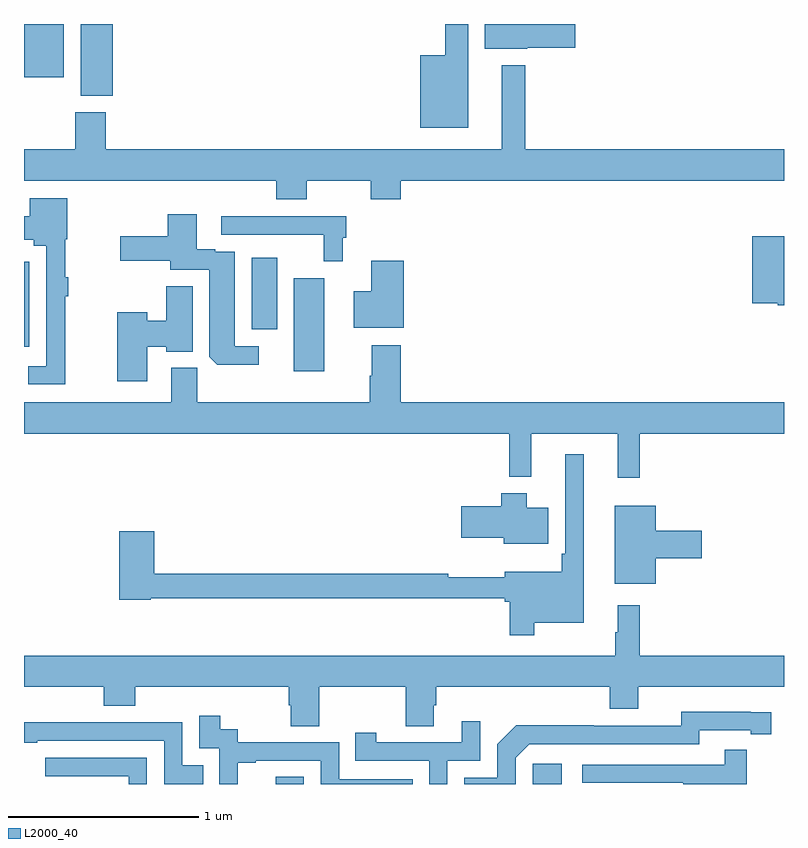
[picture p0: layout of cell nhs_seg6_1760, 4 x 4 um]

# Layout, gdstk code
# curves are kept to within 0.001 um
import gdstk
lib = gdstk.Library(unit=1e-6, precision=1e-09)
def R(c, l, rs):  # rectangles x0, y0, x1, y1
    for r in rs: c.add(gdstk.rectangle(r[:2], r[2:], *l))
def P(c, l, *ps):  # polygons
    for p in ps: c.add(gdstk.Polygon(p, *l))
L2000_40 = (2000, 40)

nhs_seg6_1760 = lib.new_cell('nhs_seg6_1760')
R(nhs_seg6_1760, L2000_40, [(218.325,937.5,218.472,937.537), (219.678,937.5,219.829,937.606), (218.42,939.672,218.581,940.162), (217,939.801,217.027,940.249), (218.198,939.894,218.332,940.27), (217,941.219,217.21,941.5)])
P(nhs_seg6_1760, L2000_40, [(219.648,941.375),(219.901,941.375),(219.901,941.5),(219.425,941.5),(219.425,941.369),(219.648,941.369)],
  [(219.337,941.5),(219.216,941.5),(219.216,941.335),(219.086,941.335),(219.086,940.955),(219.337,940.955)],
  [(217.466,941.499),(217.445,941.499),(217.445,941.5),(217.298,941.5),(217.298,941.123),(217.466,941.123)],
  [(218.487,940.676),(218.824,940.676),(218.824,940.577),(218.984,940.577),(218.984,940.676),(221,940.676),(221,940.84),(219.637,940.84),(219.637,941.284),(219.515,941.284),(219.515,940.84),(217.43,940.84),(217.43,941.035),(217.27,941.035),(217.27,940.84),(217,940.84),(217,940.676),(218.327,940.676),(218.327,940.577),(218.487,940.577)],
  [(217.217,940.068),(217.232,940.068),(217.232,940.168),(217.217,940.168),(217.217,940.368),(217.228,940.368),(217.228,940.582),(217.031,940.582),(217.031,940.488),(217,940.488),(217,940.364),(217.05,940.364),(217.05,940.334),(217.116,940.334),(217.116,939.699),(217.023,939.699),(217.023,939.603),(217.217,939.603)],
  [(218.236,939.804),(218.11,939.804),(218.11,940.302),(218.006,940.302),(218.006,940.315),(217.909,940.315),(217.909,940.498),(217.757,940.498),(217.757,940.383),(217.506,940.383),(217.506,940.253),(217.769,940.253),(217.769,940.206),(217.976,940.206),(217.976,939.748),(218.018,939.707),(218.236,939.707)],
  [(218.677,940.374),(218.696,940.374),(218.696,940.488),(218.037,940.488),(218.037,940.392),(218.578,940.392),(218.578,940.251),(218.677,940.251)],
  [(221,940.384),(220.832,940.384),(220.832,940.031),(220.968,940.031),(220.968,940.019),(221,940.019)],
  [(218.999,940.255),(218.828,940.255),(218.828,940.093),(218.735,940.093),(218.735,939.902),(218.999,939.902)],
  [(217.648,939.802),(217.748,939.802),(217.748,939.776),(217.888,939.776),(217.888,940.121),(217.748,940.121),(217.748,939.939),(217.648,939.939),(217.648,939.982),(217.49,939.982),(217.49,939.621),(217.648,939.621)],
  [(220.241,939.344),(221,939.344),(221,939.508),(218.984,939.508),(218.984,939.808),(218.831,939.808),(218.831,939.65),(218.819,939.65),(218.819,939.508),(217.913,939.508),(217.913,939.69),(217.775,939.69),(217.775,939.508),(217,939.508),(217,939.344),(219.553,939.344),(219.553,939.116),(219.671,939.116),(219.671,939.344),(220.124,939.344),(220.124,939.111),(220.241,939.111)],
  [(219.685,938.348),(219.946,938.348),(219.946,939.235),(219.849,939.235),(219.849,938.713),(219.829,938.713),(219.829,938.617),(219.53,938.617),(219.53,938.588),(219.234,938.588),(219.234,938.606),(217.685,938.606),(217.685,938.83),(217.502,938.83),(217.502,938.47),(217.668,938.47),(217.668,938.478),(219.53,938.478),(219.53,938.459),(219.556,938.459),(219.556,938.283),(219.685,938.283)],
  [(219.76,938.953),(219.646,938.953),(219.646,939.031),(219.512,939.031),(219.512,938.961),(219.3,938.961),(219.3,938.795),(219.524,938.795),(219.524,938.765),(219.76,938.765)],
  [(220.324,938.687),(220.567,938.687),(220.567,938.834),(220.324,938.834),(220.324,938.965),(220.109,938.965),(220.109,938.555),(220.324,938.555)],
  [(218.553,938.012),(219.01,938.012),(219.01,937.804),(219.157,937.804),(219.157,937.914),(219.17,937.914),(219.17,938.012),(220.082,938.012),(220.082,937.895),(220.234,937.895),(220.234,938.012),(221,938.012),(221,938.176),(220.241,938.176),(220.241,938.44),(220.124,938.44),(220.124,938.3),(220.113,938.3),(220.113,938.176),(217,938.176),(217,938.012),(217.421,938.012),(217.421,937.913),(217.586,937.913),(217.586,938.012),(218.393,938.012),(218.393,937.914),(218.405,937.914),(218.405,937.804),(218.553,937.804)],
  [(219.588,937.638),(219.66,937.71),(220.554,937.71),(220.554,937.782),(220.826,937.782),(220.826,937.762),(220.934,937.762),(220.934,937.878),(220.458,937.879),(220.458,937.806),(219.998,937.806),(219.998,937.808),(219.59,937.808),(219.492,937.71),(219.492,937.533),(219.318,937.533),(219.318,937.5),(219.588,937.5)],
  [(218.126,937.611),(218.221,937.611),(218.221,937.623),(218.562,937.623),(218.562,937.5),(219.047,937.5),(219.047,937.524),(218.658,937.524),(218.658,937.719),(218.124,937.719),(218.124,937.788),(218.032,937.788),(218.032,937.858),(217.923,937.858),(217.923,937.689),(218.028,937.689),(218.028,937.5),(218.126,937.5)],
  [(219.228,937.623),(219.402,937.623),(219.402,937.831),(219.305,937.831),(219.305,937.719),(218.854,937.719),(218.854,937.771),(218.743,937.771),(218.743,937.623),(219.132,937.623),(219.132,937.5),(219.228,937.5)],
  [(217.943,937.599),(217.833,937.599),(217.833,937.824),(217.337,937.824),(217.337,937.826),(217,937.826),(217,937.716),(217.069,937.716),(217.069,937.728),(217.737,937.728),(217.737,937.5),(217.943,937.5)],
  [(220.805,937.681),(220.687,937.681),(220.687,937.602),(219.939,937.602),(219.939,937.506),(220.471,937.506),(220.471,937.5),(220.805,937.5)],
  [(217.647,937.638),(217.113,937.638),(217.113,937.542),(217.551,937.542),(217.551,937.5),(217.647,937.5)])

lib.write_gds('nhs_seg6_1760.gds')
